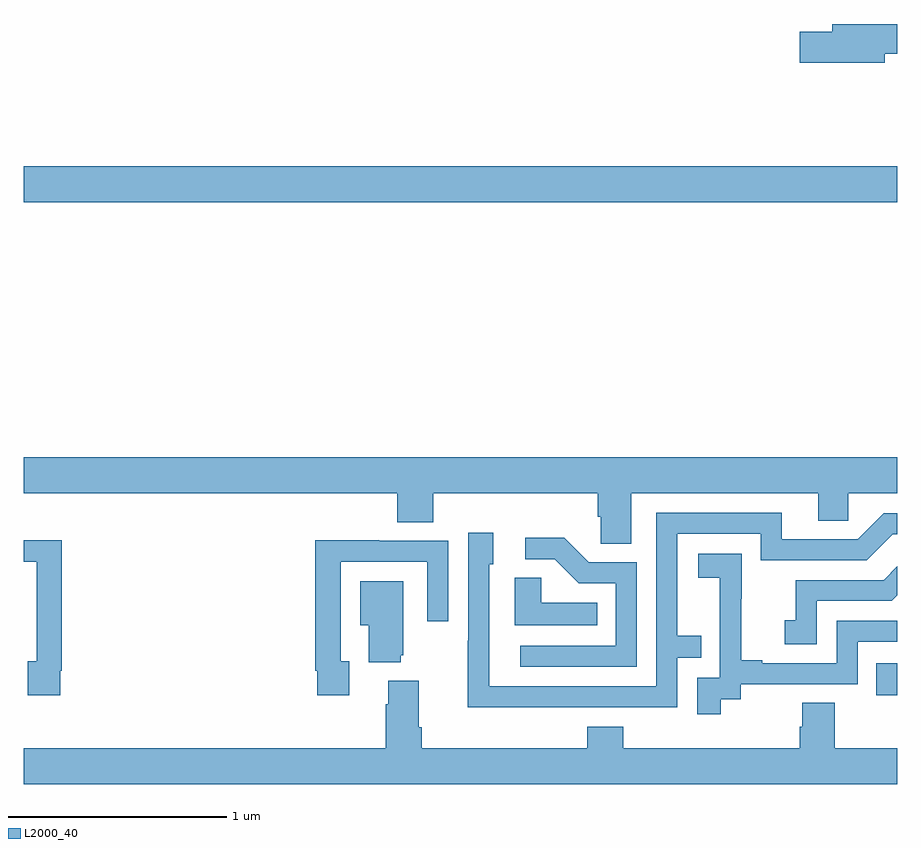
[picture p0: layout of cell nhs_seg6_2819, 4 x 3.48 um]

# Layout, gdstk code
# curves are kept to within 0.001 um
import gdstk
lib = gdstk.Library(unit=1e-6, precision=1e-09)
def R(c, l, rs):  # rectangles x0, y0, x1, y1
    for r in rs: c.add(gdstk.rectangle(r[:2], r[2:], *l))
def P(c, l, *ps):  # polygons
    for p in ps: c.add(gdstk.Polygon(p, *l))
L2000_40 = (2000, 40)

nhs_seg6_2819 = lib.new_cell('nhs_seg6_2819')
R(nhs_seg6_2819, L2000_40, [(280.903,954.402,281,954.549), (277,956.66,281,956.824)])
P(nhs_seg6_2819, L2000_40, [(280.942,957.34),(281,957.34),(281,957.476),(280.703,957.476),(280.703,957.44),(280.554,957.44),(280.554,957.298),(280.942,957.298)],
  [(279.781,955.328),(280.637,955.328),(280.637,955.201),(280.776,955.201),(280.776,955.328),(281,955.328),(281,955.492),(277,955.492),(277,955.328),(278.711,955.328),(278.711,955.195),(278.876,955.195),(278.876,955.328),(279.629,955.328),(279.629,955.219),(279.642,955.219),(279.642,955.096),(279.781,955.096)],
  [(279.497,954.348),(279.993,954.348),(279.993,954.573),(280.103,954.573),(280.103,954.674),(279.993,954.674),(279.993,955.143),(280.374,955.143),(280.374,955.02),(280.86,955.02),(280.98,955.14),(281,955.14),(281,955.236),(280.938,955.236),(280.818,955.116),(280.471,955.116),(280.471,955.239),(279.897,955.239),(279.897,954.444),(279.132,954.444),(279.132,955.002),(279.151,955.002),(279.151,955.147),(279.036,955.147),(279.036,954.653),(279.034,954.653),(279.034,954.347)],
  [(279.807,955.011),(279.588,955.011),(279.475,955.124),(279.297,955.124),(279.297,955.026),(279.431,955.026),(279.542,954.915),(279.711,954.915),(279.711,954.63),(279.273,954.63),(279.273,954.534),(279.807,954.534)],
  [(277.168,954.514),(277.175,954.514),(277.175,955.112),(277,955.112),(277,955.014),(277.059,955.014),(277.059,954.558),(277.019,954.558),(277.019,954.402),(277.168,954.402)],
  [(278.491,954.558),(278.451,954.558),(278.451,955.014),(278.847,955.014),(278.847,954.741),(278.943,954.741),(278.943,955.11),(278.627,955.11),(278.627,955.112),(278.335,955.112),(278.335,954.514),(278.343,954.514),(278.343,954.402),(278.491,954.402)],
  [(280.192,954.385),(280.284,954.385),(280.284,954.453),(280.818,954.453),(280.818,954.648),(281,954.648),(281,954.744),(280.722,954.744),(280.722,954.549),(280.381,954.549),(280.381,954.562),(280.286,954.562),(280.286,954.845),(280.287,954.845),(280.287,955.051),(280.089,955.051),(280.089,954.941),(280.187,954.941),(280.187,954.713),(280.188,954.713),(280.188,954.483),(280.083,954.483),(280.083,954.315),(280.192,954.315)],
  [(280.632,954.834),(280.974,954.834),(281,954.86),(281,954.993),(280.937,954.93),(280.534,954.93),(280.534,954.745),(280.485,954.745),(280.485,954.636),(280.632,954.636)],
  [(279.626,954.826),(279.369,954.826),(279.369,954.941),(279.248,954.941),(279.248,954.722),(279.626,954.722)],
  [(278.726,954.585),(278.737,954.585),(278.737,954.925),(278.54,954.925),(278.54,954.722),(278.579,954.722),(278.579,954.554),(278.726,954.554)],
  [(281,954.16),(280.713,954.16),(280.713,954.368),(280.565,954.368),(280.565,954.258),(280.553,954.258),(280.553,954.16),(279.746,954.16),(279.746,954.259),(279.581,954.259),(279.581,954.16),(278.822,954.16),(278.822,954.256),(278.809,954.256),(278.809,954.469),(278.669,954.469),(278.669,954.362),(278.657,954.362),(278.657,954.16),(277,954.16),(277,953.996),(281,953.996)])

lib.write_gds('nhs_seg6_2819.gds')
